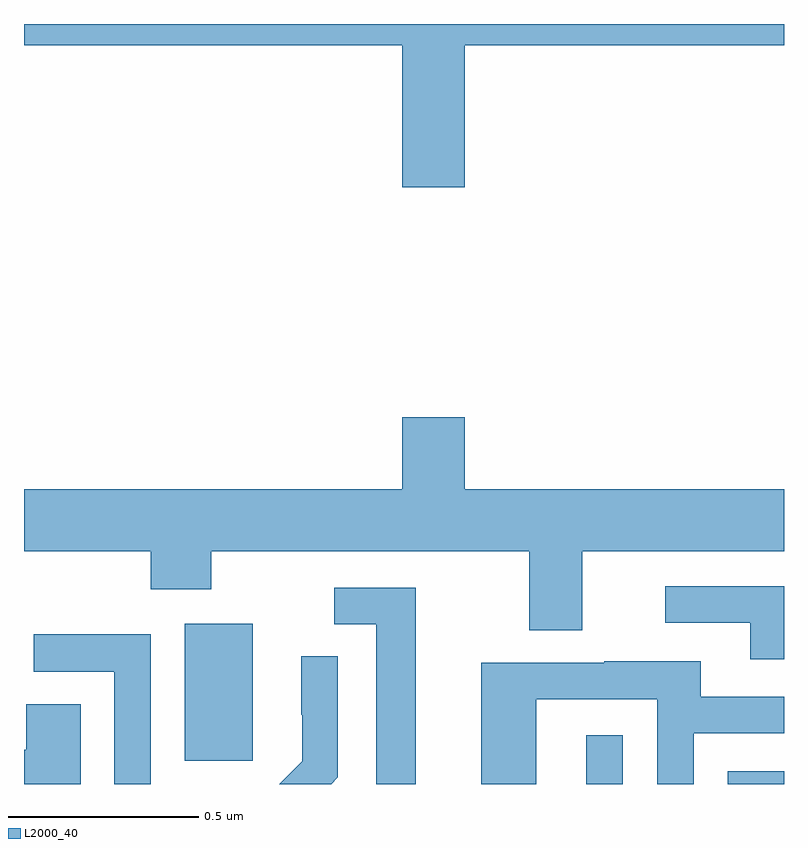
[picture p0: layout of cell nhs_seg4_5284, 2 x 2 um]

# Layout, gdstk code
import gdstk
lib = gdstk.Library(unit=1e-6, precision=1e-09)
def R(c, l, rs):  # rectangles x0, y0, x1, y1
    for r in rs: c.add(gdstk.rectangle(r[:2], r[2:], *l))
def P(c, l, *ps):  # polygons
    for p in ps: c.add(gdstk.Polygon(p, *l))
L2000_40 = (2000, 40)

nhs_seg4_5284 = lib.new_cell('nhs_seg4_5284')
R(nhs_seg4_5284, L2000_40, [(177.479,770.9,177.576,771.028), (177.852,770.9,178,770.934), (176.423,770.961,176.602,771.322)])
P(nhs_seg4_5284, L2000_40, [(177.16,772.844),(178,772.844),(178,772.9),(176,772.9),(176,772.844),(176.996,772.844),(176.996,772.47),(177.16,772.47)],
  [(177.469,771.512),(178,771.512),(178,771.676),(177.16,771.676),(177.16,771.865),(176.996,771.865),(176.996,771.676),(176,771.676),(176,771.512),(176.333,771.512),(176.333,771.413),(176.493,771.413),(176.493,771.512),(177.329,771.512),(177.329,771.304),(177.469,771.304)],
  [(178,771.42),(177.687,771.42),(177.687,771.324),(177.911,771.324),(177.911,771.228),(178,771.228)],
  [(177.031,771.417),(176.817,771.417),(176.817,771.321),(176.927,771.321),(176.927,770.9),(177.031,770.9)],
  [(176.334,771.294),(176.025,771.294),(176.025,771.195),(176.238,771.195),(176.238,770.9),(176.334,770.9)],
  [(176.826,770.918),(176.826,771.236),(176.73,771.236),(176.73,771.082),(176.732,771.082),(176.732,770.96),(176.672,770.9),(176.808,770.9)],
  [(177.348,771.123),(177.666,771.123),(177.666,770.9),(177.762,770.9),(177.762,771.033),(178,771.033),(178,771.129),(177.781,771.129),(177.781,771.223),(177.527,771.223),(177.527,771.219),(177.203,771.219),(177.203,770.9),(177.348,770.9)],
  [(176.149,771.11),(176.006,771.11),(176.006,770.99),(176,770.99),(176,770.9),(176.149,770.9)])

lib.write_gds('nhs_seg4_5284.gds')
